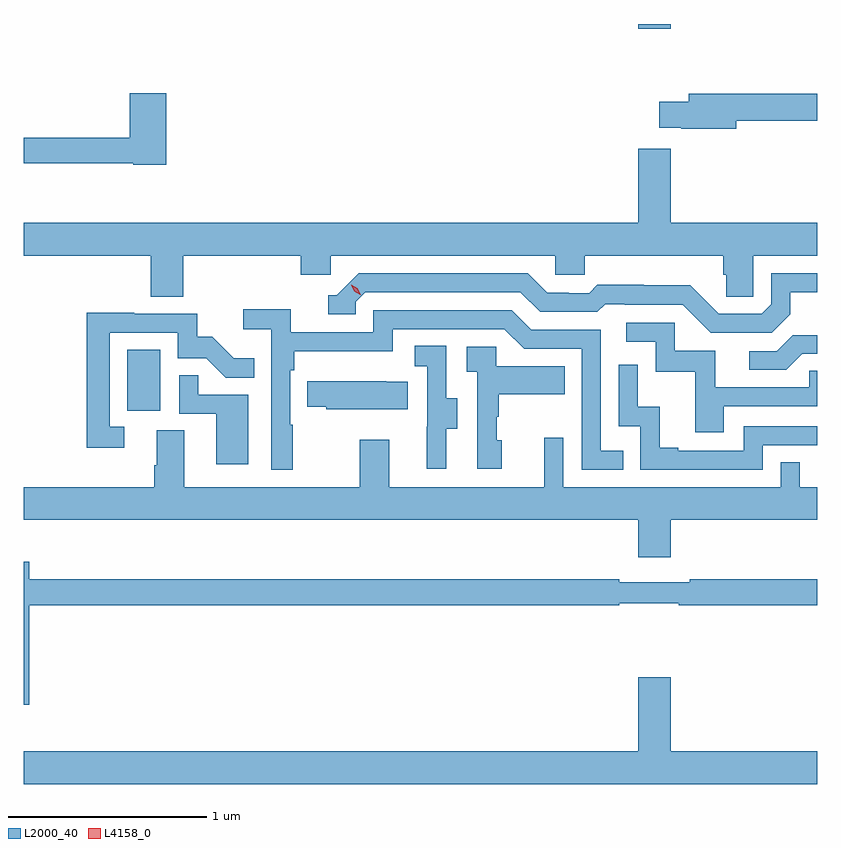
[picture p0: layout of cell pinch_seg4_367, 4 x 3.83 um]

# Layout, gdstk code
import gdstk
lib = gdstk.Library(unit=1e-6, precision=1e-09)
def R(c, l, rs):  # rectangles x0, y0, x1, y1
    for r in rs: c.add(gdstk.rectangle(r[:2], r[2:], *l))
def P(c, l, *ps):  # polygons
    for p in ps: c.add(gdstk.Polygon(p, *l))
L2000_40 = (2000, 40)
L4158_0 = (4158, 0)

pinch_seg4_367 = lib.new_cell('pinch_seg4_367')
R(pinch_seg4_367, L2000_40, [(929.666,769.398,929.83,769.705), (932.24,771.324,932.404,771.347)])
P(pinch_seg4_367, L2000_40, [(929.861,770.998),(929.678,770.998),(929.678,770.774),(929.143,770.774),(929.143,770.646),(929.694,770.646),(929.694,770.638),(929.861,770.638)],
  [(932.734,770.86),(933.143,770.86),(933.143,770.996),(932.495,770.996),(932.495,770.955),(932.346,770.955),(932.346,770.825),(932.458,770.825),(932.458,770.818),(932.734,770.818)],
  [(929.948,770.18),(930.539,770.18),(930.539,770.082),(930.69,770.082),(930.69,770.18),(931.821,770.18),(931.821,770.082),(931.971,770.082),(931.971,770.18),(932.669,770.18),(932.669,770.082),(932.683,770.082),(932.683,769.972),(932.82,769.972),(932.82,770.18),(933.143,770.18),(933.143,770.344),(932.404,770.344),(932.404,770.719),(932.24,770.719),(932.24,770.344),(929.143,770.344),(929.143,770.18),(929.783,770.18),(929.783,769.972),(929.948,769.972)],
  [(933.007,769.885),(933.007,769.995),(933.143,769.995),(933.143,770.091),(932.91,770.091),(932.91,769.935),(932.862,769.887),(932.646,769.887),(932.504,770.029),(932.268,770.029),(932.268,770.032),(932.035,770.032),(931.993,769.989),(931.89,769.989),(931.89,769.992),(931.783,769.992),(931.684,770.091),(930.831,770.091),(930.72,769.98),(930.677,769.98),(930.677,769.884),(930.816,769.884),(930.816,769.947),(930.864,769.995),(931.647,769.995),(931.746,769.896),(932.035,769.896),(932.074,769.935),(932.173,769.935),(932.173,769.932),(932.466,769.932),(932.607,769.791),(932.913,769.791)],
  [(930.499,769.328),(930.486,769.328),(930.486,769.601),(930.506,769.601),(930.506,769.697),(931.002,769.697),(931.002,769.809),(931.566,769.809),(931.665,769.71),(931.956,769.71),(931.956,769.101),(932.165,769.101),(932.165,769.197),(932.052,769.197),(932.052,769.806),(931.702,769.806),(931.603,769.905),(930.906,769.905),(930.906,769.794),(930.488,769.794),(930.488,769.91),(930.249,769.91),(930.249,769.808),(930.39,769.808),(930.39,769.101),(930.499,769.101)],
  [(929.65,769.317),(929.577,769.317),(929.577,769.791),(929.919,769.791),(929.919,769.662),(930.064,769.662),(930.162,769.564),(930.305,769.564),(930.305,769.663),(930.201,769.663),(930.094,769.77),(930.018,769.77),(930.018,769.887),(929.699,769.887),(929.699,769.892),(929.461,769.892),(929.461,769.212),(929.65,769.212)],
  [(932.671,769.419),(933.143,769.419),(933.143,769.599),(933.103,769.599),(933.103,769.515),(932.629,769.515),(932.629,769.701),(932.424,769.701),(932.424,769.842),(932.181,769.842),(932.181,769.746),(932.328,769.746),(932.328,769.593),(932.527,769.593),(932.527,769.29),(932.671,769.29)],
  [(933.067,769.686),(933.143,769.686),(933.143,769.778),(933.02,769.778),(932.94,769.698),(932.799,769.698),(932.799,769.605),(932.986,769.605)],
  [(931.273,769.306),(931.327,769.306),(931.327,769.461),(931.272,769.461),(931.272,769.724),(931.113,769.724),(931.113,769.621),(931.176,769.621),(931.176,769.317),(931.175,769.317),(931.175,769.104),(931.273,769.104)],
  [(931.552,769.248),(931.527,769.248),(931.527,769.367),(931.537,769.367),(931.537,769.481),(931.871,769.481),(931.871,769.621),(931.524,769.621),(931.524,769.719),(931.377,769.719),(931.377,769.595),(931.428,769.595),(931.428,769.104),(931.552,769.104)],
  [(932.868,769.224),(933.143,769.224),(933.143,769.32),(932.772,769.32),(932.772,769.197),(932.443,769.197),(932.443,769.21),(932.348,769.21),(932.348,769.418),(932.238,769.418),(932.238,769.63),(932.142,769.63),(932.142,769.32),(932.25,769.32),(932.25,769.101),(932.868,769.101)],
  [(930.274,769.479),(930.023,769.479),(930.023,769.577),(929.928,769.577),(929.928,769.383),(930.113,769.383),(930.113,769.128),(930.274,769.128)],
  [(931.079,769.543),(930.971,769.543),(930.971,769.546),(930.571,769.546),(930.571,769.417),(930.669,769.417),(930.669,769.406),(931.079,769.406)],
  [(932.404,768.848),(933.143,768.848),(933.143,769.012),(933.054,769.012),(933.054,769.139),(932.958,769.139),(932.958,769.012),(931.863,769.012),(931.863,769.261),(931.766,769.261),(931.766,769.012),(930.985,769.012),(930.985,769.252),(930.838,769.252),(930.838,769.012),(929.953,769.012),(929.953,769.298),(929.813,769.298),(929.813,769.124),(929.801,769.124),(929.801,769.012),(929.143,769.012),(929.143,768.848),(932.24,768.848),(932.24,768.66),(932.404,768.66)],
  [(929.17,768.418),(932.146,768.418),(932.146,768.426),(932.446,768.426),(932.446,768.418),(933.143,768.418),(933.143,768.547),(932.5,768.547),(932.5,768.534),(932.144,768.534),(932.144,768.547),(929.17,768.547),(929.17,768.637),(929.143,768.637),(929.143,767.916),(929.17,767.916)],
  [(933.143,767.68),(932.404,767.68),(932.404,768.055),(932.24,768.055),(932.24,767.68),(929.143,767.68),(929.143,767.516),(933.143,767.516)])
P(pinch_seg4_367, L4158_0, [(930.84,769.981),(930.809,770),(930.793,770.033),(930.793,770.033),(930.793,770.033),(930.824,770.014),(930.841,769.982),(930.841,769.981)])

lib.write_gds('pinch_seg4_367.gds')
